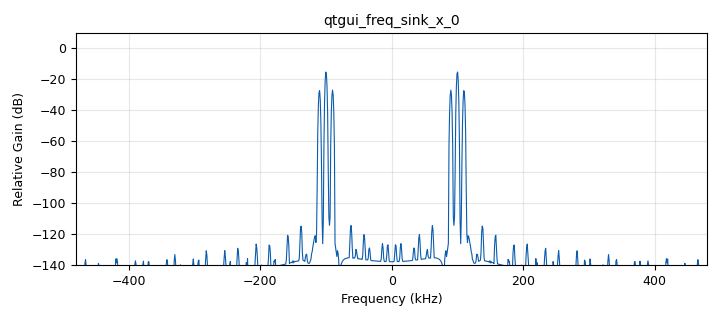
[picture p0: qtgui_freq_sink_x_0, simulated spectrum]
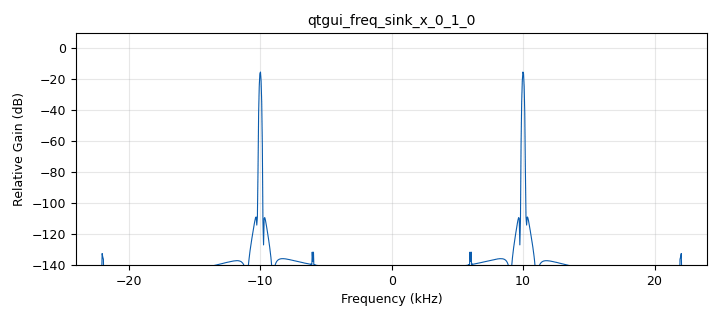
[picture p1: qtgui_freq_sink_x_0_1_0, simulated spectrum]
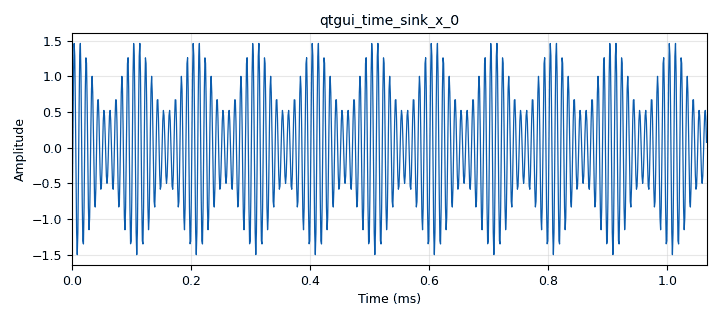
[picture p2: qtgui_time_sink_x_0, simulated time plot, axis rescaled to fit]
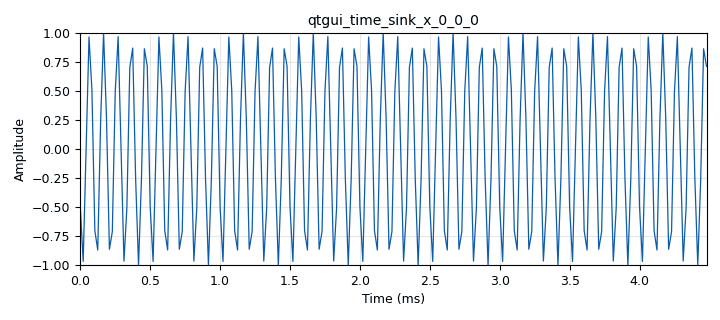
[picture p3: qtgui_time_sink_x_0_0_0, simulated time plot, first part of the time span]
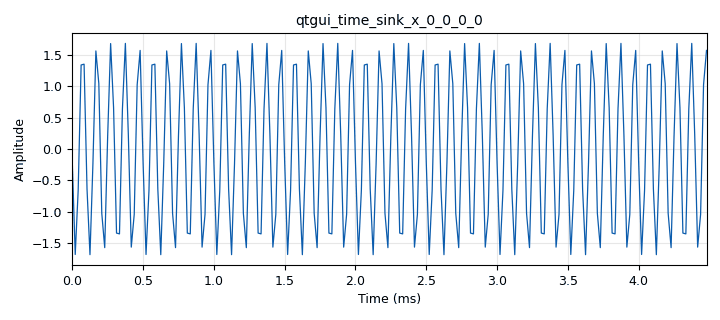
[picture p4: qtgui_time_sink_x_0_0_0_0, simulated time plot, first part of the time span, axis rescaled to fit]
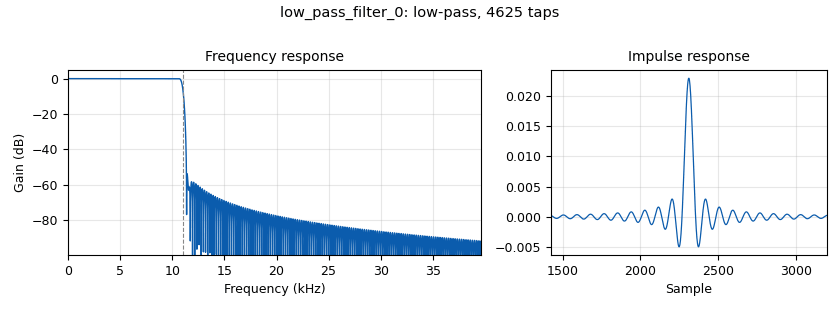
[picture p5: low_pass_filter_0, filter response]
options:
  parameters:
    generate_options: qt_gui
    id: dsbfc
    output_language: python
    title: DSB-FC
  states: {}

blocks:
- name: audio_rate
  id: variable
  parameters:
    value: '48000'
  states: {}
- name: m
  id: variable_qtgui_range
  parameters:
    start: '0.1'
    step: '0.1'
    stop: '1'
    value: '0.5'
  states: {}
- name: quadrature_rate
  id: variable
  parameters:
    value: '960000'
  states: {}
- name: analog_sig_source_x_0
  id: analog_sig_source_x
  parameters:
    amp: '1'
    freq: '10000'
    offset: '0'
    phase: '0'
    samp_rate: audio_rate
    type: float
    waveform: analog.GR_COS_WAVE
  states: {}
- name: analog_sig_source_x_1
  id: analog_sig_source_x
  parameters:
    amp: '1'
    freq: '100000'
    offset: '0'
    phase: '0'
    samp_rate: quadrature_rate
    type: float
    waveform: analog.GR_COS_WAVE
  states: {}
- name: audio_sink_0
  id: audio_sink
  parameters:
    samp_rate: '48000'
  states: {state: disabled}
- name: audio_sink_0_0
  id: audio_sink
  parameters:
    samp_rate: '48000'
  states: {state: disabled}
- name: band_pass_filter_0
  id: band_pass_filter
  parameters:
    gain: '1'
    high_cutoff_freq: '11000'
    interp: '1'
    low_cutoff_freq: '9000'
    samp_rate: quadrature_rate
    type: interp_fir_filter_fff
    width: '400'
    win: window.WIN_HAMMING
  states: {state: disabled}
- name: blocks_abs_xx_0
  id: blocks_abs_xx
  parameters:
    type: float
  states: {}
- name: blocks_add_xx_0
  id: blocks_add_xx
  parameters:
    type: float
  states: {}
- name: blocks_multiply_const_vxx_0
  id: blocks_multiply_const_vxx
  parameters:
    const: m
    type: float
  states: {}
- name: blocks_multiply_const_vxx_1
  id: blocks_multiply_const_vxx
  parameters:
    const: '10'
    type: float
  states: {}
- name: blocks_multiply_xx_0
  id: blocks_multiply_xx
  parameters:
    type: float
  states: {}
- name: blocks_wavfile_source_0
  id: blocks_wavfile_source
  parameters:
    file: /home/rohan/Desktop/EE340/Lab1/background.wav
    repeat: 'True'
  states: {state: disabled}
- name: dc_blocker_xx_0
  id: dc_blocker_xx
  parameters:
    length: '32'
    long_form: 'True'
    type: ff
  states: {}
- name: low_pass_filter_0
  id: low_pass_filter
  parameters:
    cutoff_freq: '11000'
    gain: '1'
    interp: '1'
    samp_rate: quadrature_rate
    type: interp_fir_filter_fff
    width: '500'
    win: window.WIN_HAMMING
  states: {}
- name: qtgui_freq_sink_x_0
  id: qtgui_freq_sink_x
  parameters:
    bw: quadrature_rate
    fc: '0'
    fftsize: '1024'
    type: float
  states: {}
- name: qtgui_freq_sink_x_0_0
  id: qtgui_freq_sink_x
  parameters:
    bw: quadrature_rate
    fc: '0'
    fftsize: '1024'
    type: float
  states: {state: disabled}
- name: qtgui_freq_sink_x_0_1
  id: qtgui_freq_sink_x
  parameters:
    bw: quadrature_rate
    fc: '0'
    fftsize: '1024'
    type: float
  states: {state: disabled}
- name: qtgui_freq_sink_x_0_1_0
  id: qtgui_freq_sink_x
  parameters:
    bw: audio_rate
    fc: '0'
    fftsize: '1024'
    type: float
  states: {}
- name: qtgui_time_sink_x_0
  id: qtgui_time_sink_x
  parameters:
    size: '1024'
    srate: quadrature_rate
    type: float
  states: {}
- name: qtgui_time_sink_x_0_0_0
  id: qtgui_time_sink_x
  parameters:
    size: '1024'
    srate: audio_rate
    type: float
  states: {}
- name: qtgui_time_sink_x_0_0_0_0
  id: qtgui_time_sink_x
  parameters:
    size: '1024'
    srate: audio_rate
    type: float
  states: {}
- name: qtgui_time_sink_x_0_0_1
  id: qtgui_time_sink_x
  parameters:
    size: '1024'
    srate: quadrature_rate
    type: float
  states: {state: disabled}
- name: rational_resampler_xxx_0
  id: rational_resampler_xxx
  parameters:
    decim: audio_rate
    interp: quadrature_rate
    type: fff
  states: {}
- name: rational_resampler_xxx_0_0
  id: rational_resampler_xxx
  parameters:
    decim: quadrature_rate
    interp: audio_rate
    type: fff
  states: {}

connections:
- [analog_sig_source_x_0, '0', qtgui_freq_sink_x_0_1_0, '0']
- [analog_sig_source_x_0, '0', qtgui_time_sink_x_0_0_0, '0']
- [analog_sig_source_x_0, '0', rational_resampler_xxx_0, '0']
- [analog_sig_source_x_1, '0', blocks_add_xx_0, '1']
- [analog_sig_source_x_1, '0', blocks_multiply_xx_0, '1']
- [band_pass_filter_0, '0', qtgui_freq_sink_x_0_1, '0']
- [band_pass_filter_0, '0', qtgui_time_sink_x_0_0_1, '0']
- [blocks_abs_xx_0, '0', band_pass_filter_0, '0']
- [blocks_abs_xx_0, '0', low_pass_filter_0, '0']
- [blocks_abs_xx_0, '0', qtgui_freq_sink_x_0_0, '0']
- [blocks_add_xx_0, '0', blocks_abs_xx_0, '0']
- [blocks_add_xx_0, '0', qtgui_freq_sink_x_0, '0']
- [blocks_add_xx_0, '0', qtgui_time_sink_x_0, '0']
- [blocks_multiply_const_vxx_0, '0', blocks_multiply_xx_0, '0']
- [blocks_multiply_const_vxx_1, '0', audio_sink_0, '0']
- [blocks_multiply_const_vxx_1, '0', qtgui_time_sink_x_0_0_0_0, '0']
- [blocks_multiply_xx_0, '0', blocks_add_xx_0, '0']
- [blocks_wavfile_source_0, '0', audio_sink_0_0, '0']
- [blocks_wavfile_source_0, '0', qtgui_freq_sink_x_0_1_0, '0']
- [blocks_wavfile_source_0, '0', qtgui_time_sink_x_0_0_0, '0']
- [blocks_wavfile_source_0, '0', rational_resampler_xxx_0, '0']
- [dc_blocker_xx_0, '0', qtgui_freq_sink_x_0_1, '0']
- [dc_blocker_xx_0, '0', qtgui_time_sink_x_0_0_1, '0']
- [dc_blocker_xx_0, '0', rational_resampler_xxx_0_0, '0']
- [low_pass_filter_0, '0', dc_blocker_xx_0, '0']
- [rational_resampler_xxx_0, '0', blocks_multiply_const_vxx_0, '0']
- [rational_resampler_xxx_0_0, '0', blocks_multiply_const_vxx_1, '0']

metadata:
  file_format: 1
